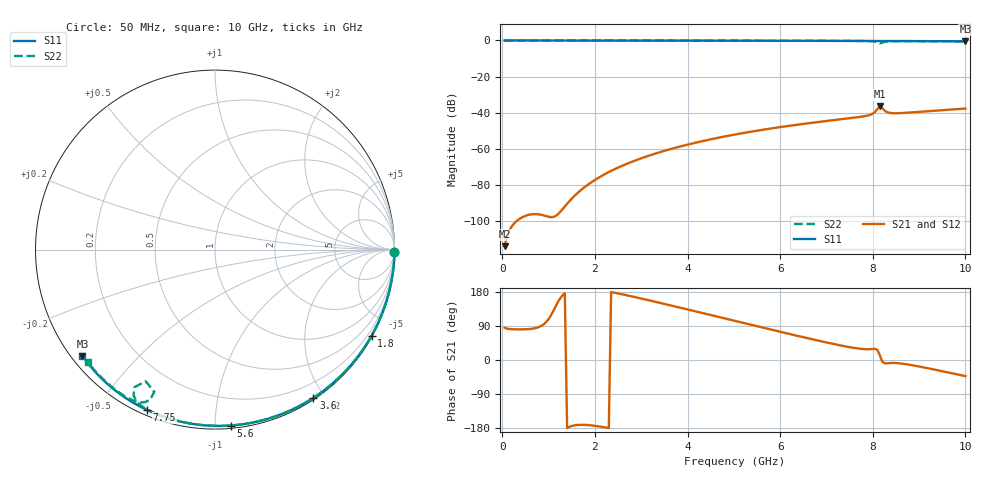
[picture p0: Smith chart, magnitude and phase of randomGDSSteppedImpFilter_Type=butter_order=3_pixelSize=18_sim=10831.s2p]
! freq	dB(S11)	phase(S11)	dB(S12)	phase(S12)
!  dB(S21)	phase(S21)	dB(S22)	phase(S22)
!S-par simulation data
#  GHz  S  DB  R 50
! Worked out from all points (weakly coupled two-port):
!   200 points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, 50 MHz to 10 GHz, reference 50 ohm
!   highest |S21| = -36.55 dB at 8.15 GHz (marker M1); lowest = -113.9 dB at 50 MHz (marker M2)
!   lowest |S11| = -0.5 dB at 10 GHz (marker M3), VSWR 36.58, Z = 1.54 - j17.5 ohm
!   |S11| at or under -10 dB: nowhere
!   |S22| runs from -1.6 to 0.0 dB; largest |S21 - S12| = 0
!   S11 on the Smith chart (normalised r, x): 50 MHz: open; 1.8 GHz: 0.03, -3.88; 3.6 GHz: 0.02, -1.86; 5.6 GHz: 0.02, -1.09; 7.75 GHz: 0.02, -0.66; 10 GHz: 0.03, -0.35
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0.05  -0.00 -0.8  -113.90 85.6  -113.90 85.6  -0.00 -0.8
0.9  -0.02 -14.6  -96.90 94.8  -96.90 94.8  -0.02 -14.4
1.75  -0.04 -28.1  -81.76 -171.1  -81.76 -171.1  -0.04 -27.7
1.8  -0.04 -28.9  -80.77 -171.3  -80.77 -171.3  -0.04 -28.5
1.85  -0.04 -29.7  -79.83 -171.7  -79.83 -171.7  -0.04 -29.3
2.15  -0.04 -34.4  -74.94 -176.4  -74.94 -176.4  -0.04 -33.9
2.55  -0.05 -40.5  -69.82 174.4  -69.82 174.4  -0.05 -40.0
3.4  -0.07 -53.4  -61.88 150.9  -61.88 150.9  -0.07 -52.8
3.6  -0.08 -56.4  -60.38 145.1  -60.38 145.1  -0.08 -55.7
4.3  -0.09 -66.6  -55.86 124.5  -55.86 124.5  -0.09 -65.8
5.05  -0.12 -77.2  -51.96 102.3  -51.96 102.3  -0.12 -76.3
5.6  -0.14 -84.8  -49.55 86.1  -49.55 86.1  -0.14 -83.8
6.7  -0.19 -99.5  -45.54 54.5  -45.54 54.5  -0.19 -98.4
7.75  -0.26 -113.0  -42.25 29.3  -42.25 29.3  -0.28 -112.8
8  -0.28 -116.2  -40.52 29.3  -40.52 29.3  -0.46 -117.7
8.1  -0.29 -117.4  -38.00 26.4  -38.00 26.4  -1.03 -120.4
8.15  -0.29 -118.1  -36.55 13.2  -36.55 13.2  -1.63 -117.7
8.2  -0.29 -118.7  -37.24 -3.0  -37.24 -3.0  -1.29 -113.1
8.25  -0.30 -119.3  -38.68 -8.5  -38.68 -8.5  -0.79 -113.4
8.35  -0.31 -120.6  -40.01 -8.2  -40.01 -8.2  -0.47 -116.0
8.9  -0.36 -127.5  -39.73 -14.9  -39.73 -14.9  -0.37 -124.7
10  -0.47 -141.3  -37.70 -42.6  -37.70 -42.6  -0.48 -138.5
